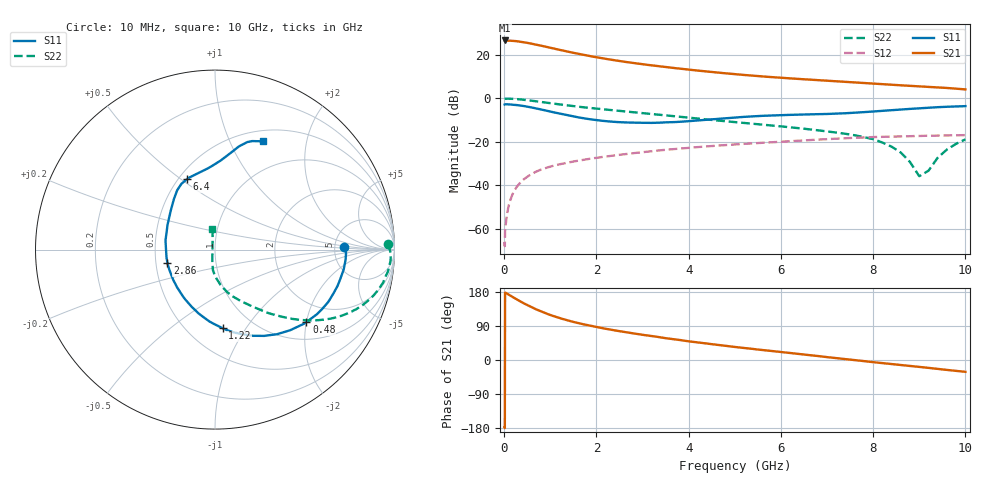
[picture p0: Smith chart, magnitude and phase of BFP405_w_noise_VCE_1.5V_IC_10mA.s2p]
! Infineon Technologies  Discrete & RF Semiconductors
! BFP405
! VCE =  1.5 V,  IC =  10 mA
! Common Emitter S-Parameters:  Jan 2016
# GHz  S  MA  R  50
!  f  S11  S21  S12  S22
! GHz  MAG  ANG  MAG  ANG  MAG  ANG  MAG  ANG
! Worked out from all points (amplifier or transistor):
!   233 points, 10 MHz to 10 GHz, reference 50 ohm
!   highest |S21| = 26.6 dB at 10 MHz (marker M1)
!   |S21| within 3 dB of that: start of sweep to 925.5 MHz
!   unconditionally stable (mu >= 1): start of sweep to 17.23 MHz; 2.492 GHz to end of sweep
!   at 200 MHz: K = 0.16, MSG = 34.8 dB, |S12| = -43.2 dB
!   at 1.74 GHz: K = 0.79, MSG = 24.0 dB, |S12| = -28.2 dB
!   at 10 GHz: K = 1.40, MAG = 6.7 dB, |S12| = -16.9 dB
!   lowest NFmin = 1.62 dB at 900 MHz
!   S11 on the Smith chart (normalised r, x): 10 MHz: 6.11, +0.41; 480 MHz: 1.43, -2.00; 1.22 GHz: 0.73, -0.79; 2.86 GHz: 0.58, -0.09; 6.4 GHz: 0.55, +0.53; 10 GHz: 0.63, +1.34
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0.01  0.7197 1.3  21.36 -177.6  0.0005 -13.5  0.9655 1.8
0.02  0.7304 -1.5  21.27 178.0  0.0009 102.8  0.9741 -0.1
0.105  0.7256 -8.7  21.17 172.0  0.0036 84.9  0.9796 -3.7
0.24  0.7047 -19.8  20.7 162.2  0.0082 80.7  0.9619 -8.9
0.4  0.672 -32.5  19.64 151.2  0.013 75.6  0.9324 -14.4
0.48  0.6498 -38.4  18.99 146.2  0.0152 73.3  0.9127 -17.0
0.6  0.6146 -46.9  17.94 138.8  0.0183 70.0  0.8807 -20.4
0.8  0.554 -60.2  16.2 128.0  0.023 65.5  0.8253 -25.3
1  0.4961 -72.1  14.5 118.7  0.0269 62.2  0.7725 -29.3
1.22  0.44 -84.5  12.87 110.1  0.0308 59.4  0.7196 -32.9
1.4  0.402 -94.3  11.7 103.7  0.0337 57.7  0.6813 -35.4
1.68  0.3543 -108.6  10.17 95.3  0.0381 55.4  0.6292 -38.6
2.2  0.2992 -134.4  8.072 82.4  0.0459 52.2  0.5522 -43.5
2.86  0.2752 -164.5  6.351 69.1  0.0558 48.4  0.4739 -49.0
3.4  0.2764 173.7  5.383 59.6  0.0641 44.8  0.4164 -53.4
4  0.2985 152.3  4.558 49.3  0.0729 40.8  0.3588 -58.8
5.1  0.3691 127.5  3.513 33.1  0.0884 32.6  0.2771 -69.5
6.4  0.4224 111.7  2.781 15.8  0.1066 23.1  0.2053 -80.1
6.8  0.4311 105.3  2.609 10.5  0.1124 19.9  0.1841 -83.3
8.4  0.5341 82.0  2.048 -10.7  0.132 5.2  0.0774 -100.8
9  0.5897 77.0  1.887 -18.2  0.1368 0.1  0.0162 -152.5
10  0.6607 65.9  1.602 -31.2  0.1426 -7.6  0.1139 97.3
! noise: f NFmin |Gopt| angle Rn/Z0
0.9  1.62  0.2  6  0.32
1.8  1.88  0.14  1  0.29
2.4  2  0.12  4  0.31
3  2.03  0.08  20  0.29
4  2.19  0.05  -72  0.28
5  2.56  0.11  -98  0.28
